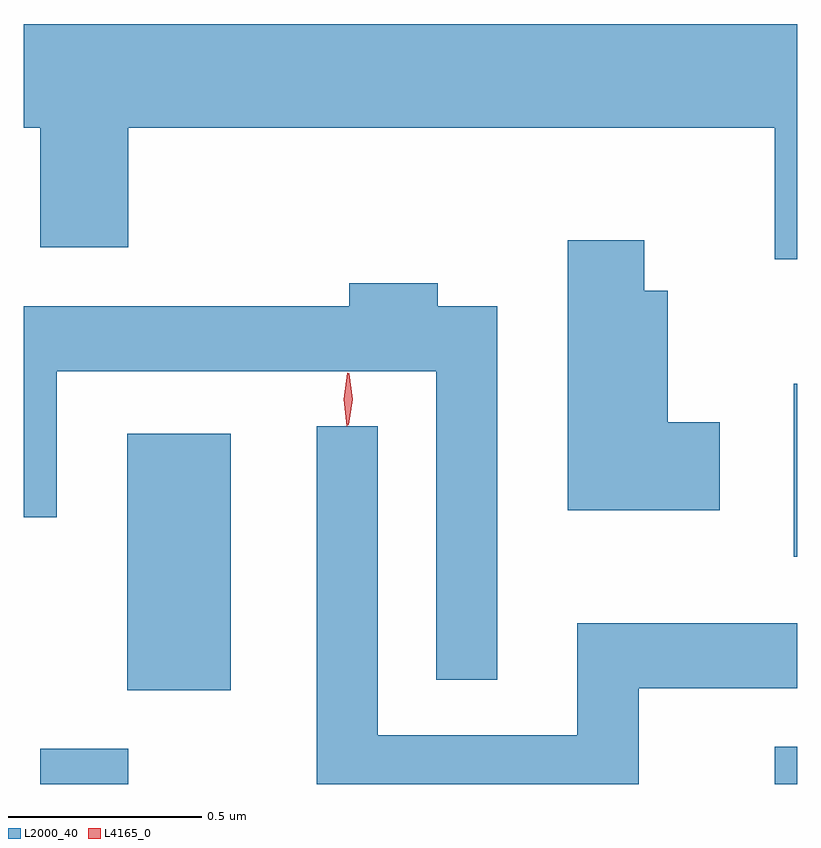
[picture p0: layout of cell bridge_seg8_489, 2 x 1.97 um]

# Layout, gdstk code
import gdstk
lib = gdstk.Library(unit=1e-6, precision=1e-09)
def R(c, l, rs):  # rectangles x0, y0, x1, y1
    for r in rs: c.add(gdstk.rectangle(r[:2], r[2:], *l))
def P(c, l, *ps):  # polygons
    for p in ps: c.add(gdstk.Polygon(p, *l))
L2000_40 = (2000, 40)
L4165_0 = (4165, 0)

bridge_seg8_489 = lib.new_cell('bridge_seg8_489')
R(bridge_seg8_489, L2000_40, [(501.421,1927.958,501.649,1928.049), (503.321,1927.958,503.379,1928.054), (501.646,1928.201,501.914,1928.864), (503.371,1928.546,503.379,1928.994)])
P(bridge_seg8_489, L2000_40, [(503.379,1929.924),(501.379,1929.924),(501.379,1929.656),(501.421,1929.656),(501.421,1929.346),(501.649,1929.346),(501.649,1929.656),(503.321,1929.656),(503.321,1929.316),(503.379,1929.316)],
  [(503.179,1928.894),(503.044,1928.894),(503.044,1929.234),(502.984,1929.234),(502.984,1929.364),(502.786,1929.364),(502.786,1928.666),(503.179,1928.666)],
  [(502.604,1929.194),(502.449,1929.194),(502.449,1929.254),(502.221,1929.254),(502.221,1929.194),(501.379,1929.194),(501.379,1928.648),(501.464,1928.648),(501.464,1929.026),(502.446,1929.026),(502.446,1928.228),(502.604,1928.228)],
  [(502.969,1928.206),(503.379,1928.206),(503.379,1928.374),(502.811,1928.374),(502.811,1928.084),(502.294,1928.084),(502.294,1928.883),(502.136,1928.883),(502.136,1927.958),(502.969,1927.958)])
P(bridge_seg8_489, L4165_0, [(502.214,1928.884),(502.206,1928.953),(502.216,1929.021),(502.217,1929.022),(502.218,1929.021),(502.226,1928.953),(502.215,1928.884),(502.215,1928.884)],
  [(502.218,1928.887),(502.218,1928.887),(502.209,1928.953),(502.219,1929.019),(502.22,1929.02),(502.22,1929.019),(502.229,1928.953),(502.219,1928.887)])

lib.write_gds('bridge_seg8_489.gds')
